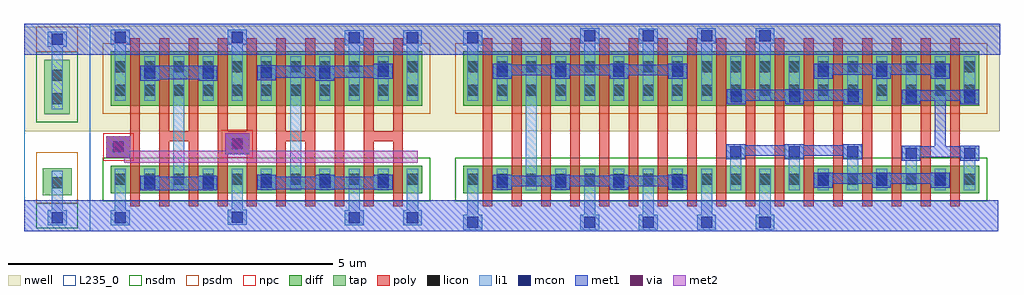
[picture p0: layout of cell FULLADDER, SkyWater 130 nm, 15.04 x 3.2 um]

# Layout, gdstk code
import gdstk
lib = gdstk.Library(unit=1e-6, precision=1e-09)
def R(c, l, rs):  # rectangles x0, y0, x1, y1
    for r in rs: c.add(gdstk.rectangle(r[:2], r[2:], *l))
def A(c, l, x, y, w, h, nx, ny, dx, dy):  # array of equal rectangles
    R(c, l, [(x+i*dx, y+j*dy, x+i*dx+w, y+j*dy+h) for i in range(nx) for j in range(ny)])
nwell = (64, 20)
diff = (65, 20)
tap = (65, 44)
poly = (66, 20)
licon = (66, 44)
li1 = (67, 20)
mcon = (67, 44)
met1 = (68, 20)
via = (68, 44)
met2 = (69, 20)
nsdm = (93, 44)
psdm = (94, 20)
npc = (95, 20)
L235_0 = (235, 0)

pfet = lib.new_cell('pfet')
R(pfet, nwell, [(-0.315,-0.39,1.065,1.23)])
R(pfet, diff, [(0,0,0.75,0.84)])
R(pfet, poly, [(0.3,-0.2,0.45,1.04)])
R(pfet, licon, [(0.065,0.155,0.235,0.325), (0.515,0.155,0.685,0.325), (0.065,0.515,0.235,0.685), (0.515,0.515,0.685,0.685)])
R(pfet, li1, [(0.065,0.075,0.235,0.765), (0.515,0.075,0.685,0.765)])
R(pfet, psdm, [(-0.125,-0.125,0.875,0.965)])

nfet = lib.new_cell('nfet')
R(nfet, diff, [(0,0,0.75,0.42)])
R(nfet, poly, [(0.3,-0.2,0.45,0.62)])
R(nfet, licon, [(0.065,0.125,0.235,0.295), (0.515,0.125,0.685,0.295)])
R(nfet, li1, [(0.065,0.045,0.235,0.375), (0.515,0.045,0.685,0.375)])
R(nfet, nsdm, [(-0.125,-0.125,0.875,0.545)])

vias_gen_4 = lib.new_cell('vias_gen$4')
R(vias_gen_4, li1, [(0,0,0.29,0.23)])
R(vias_gen_4, mcon, [(0.06,0.03,0.23,0.2)])
R(vias_gen_4, met1, [(0,0,0.29,0.23)])

vias_gen_1 = lib.new_cell('vias_gen$1')
R(vias_gen_1, li1, [(0,0,0.29,0.23)])
R(vias_gen_1, mcon, [(0.06,0.03,0.23,0.2)])
R(vias_gen_1, met1, [(0,0,0.29,0.23)])

vias_gen_3 = lib.new_cell('vias_gen$3')
R(vias_gen_3, poly, [(0,0,0.37,0.33)])
R(vias_gen_3, licon, [(0.1,0.08,0.27,0.25)])
R(vias_gen_3, li1, [(0,0,0.37,0.33)])
R(vias_gen_3, mcon, [(0.1,0.08,0.27,0.25)])
R(vias_gen_3, met1, [(0,0,0.37,0.33)])
R(vias_gen_3, via, [(0.11,0.09,0.26,0.24)])
R(vias_gen_3, met2, [(0,0,0.37,0.33)])
R(vias_gen_3, npc, [(-0.05,-0.05,0.42,0.38)])

vias_gen = lib.new_cell('vias_gen')
R(vias_gen, li1, [(0,0,0.29,0.23)])
R(vias_gen, mcon, [(0.06,0.03,0.23,0.2)])
R(vias_gen, met1, [(0,0,0.29,0.23)])

tap_ = lib.new_cell('tap')
R(tap_, nwell, [(-1.455,0.92,-0.435,2.525)])
R(tap_, tap, [(-1.17,-0.07,-0.72,0.35), (-1.14,1.18,-0.75,2.02)])
R(tap_, licon, [(-1.03,0.04,-0.86,0.21), (-1.03,1.335,-0.86,1.505), (-1.03,1.695,-0.86,1.865)])
R(tap_, li1, [(-1.03,-0.3,-0.86,-0.025), (-1.03,-0.025,-0.86,0.305), (-1.03,1.255,-0.86,1.945), (-1.03,1.945,-0.86,2.25)])
R(tap_, met1, [(-1.455,-0.625,-0.435,-0.145), (-1.455,2.095,-0.435,2.575)])
R(tap_, nsdm, [(-1.265,-0.575,-0.625,-0.195), (-1.265,1.055,-0.625,2.145)])
R(tap_, psdm, [(-1.265,-0.195,-0.625,0.59), (-1.265,2.145,-0.625,2.525)])
R(tap_, L235_0, [(-1.455,-0.625,-0.435,2.575)])
tap_.add(gdstk.Reference(vias_gen, (-1.09,-0.53)))
tap_.add(gdstk.Reference(vias_gen, (-1.09,2.22)))

fulladder = lib.new_cell('FULLADDER')
A(fulladder, poly, -2.435, -1.43, 0.15, 0.525, 10, 1, 0.45, 0)
A(fulladder, poly, 2.995, -1.43, 0.15, 0.525, 17, 1, 0.45, 0)
A(fulladder, poly, -1.835, -1.25, 0.3, 0.15, 3, 1, 0.9, 0)
R(fulladder, poly, [(1.315,-1.25,1.615,-1.1)])
A(fulladder, li1, 4.56, -2.415, 0.17, 0.41, 4, 1, 0.9, 0)
A(fulladder, li1, 6.81, -1.675, 0.17, 0.17, 3, 1, 0.9, 0)
A(fulladder, li1, -2.67, 0.06, 0.17, 0.2, 3, 1, 1.8, 0)
R(fulladder, li1, [(-2.67,-2.415,-2.5,-2.005), (0.93,-2.415,1.1,-2.005), (1.83,-2.415,2,-2.005), (2.76,-2.415,2.93,-2.005), (-0.87,-2.41,-0.7,-2), (-1.77,-1.675,-1.6,-0.625), (0.03,-1.675,0.2,-0.625), (3.66,-1.675,3.83,-0.63), (9.51,-1.675,9.68,-1.52), (10.41,-1.675,10.58,-1.52), (2.76,0.055,2.93,0.255), (5.46,0.055,5.63,0.255), (1.83,0.06,2,0.26), (4.56,0.06,4.73,0.26), (6.36,0.06,6.53,0.26), (7.26,0.06,7.43,0.26)])
R(fulladder, met1, [(-3.05,-2.64,10.94,-2.16), (-2.225,-2.005,-1.16,-1.8), (-0.42,-1.99,1.55,-1.8), (3.205,-1.945,6.09,-1.78), (8.095,-1.91,10.135,-1.745), (9.45,-1.495,10.59,-1.33), (6.745,-1.475,8.785,-1.31), (9.96,-1.33,10.13,-0.63), (9.45,-0.63,10.59,-0.465), (6.755,-0.625,8.795,-0.46), (-2.22,-0.295,-1.155,-0.09), (-0.425,-0.275,1.545,-0.085), (3.205,-0.235,6.09,-0.07), (8.13,-0.225,10.17,-0.06), (-3.05,0.08,10.965,0.56)])
R(fulladder, met2, [(-2.525,-1.58,1.995,-1.395)])
fulladder.add(gdstk.Reference(pfet, (3.595,-0.705)))
fulladder.add(gdstk.Reference(pfet, (3.595,-0.705)))
fulladder.add(gdstk.Reference(nfet, (2.695,-2.05)))
fulladder.add(gdstk.Reference(pfet, (2.695,-0.705)))
fulladder.add(gdstk.Reference(pfet, (3.145,-0.705)))
fulladder.add(gdstk.Reference(nfet, (3.145,-2.05)))
fulladder.add(gdstk.Reference(vias_gen_4, (5.4,-2.615)))
fulladder.add(gdstk.Reference(vias_gen_4, (4.05,-0.29)))
fulladder.add(gdstk.Reference(vias_gen_4, (4.95,-0.29)))
fulladder.add(gdstk.Reference(pfet, (9.895,-0.705)))
fulladder.add(gdstk.Reference(vias_gen_4, (6.3,-2.615)))
fulladder.add(gdstk.Reference(vias_gen_4, (7.2,-2.615)))
fulladder.add(gdstk.Reference(vias_gen_4, (5.855,-0.29)))
fulladder.add(gdstk.Reference(vias_gen_4, (4.05,-2)))
fulladder.add(gdstk.Reference(vias_gen_4, (4.95,-2)))
fulladder.add(gdstk.Reference(vias_gen_4, (5.855,-2)))
fulladder.add(gdstk.Reference(pfet, (7.645,-0.705)))
fulladder.add(gdstk.Reference(vias_gen_4, (6.755,-0.68)))
fulladder.add(gdstk.Reference(vias_gen_4, (7.655,-0.68)))
fulladder.add(gdstk.Reference(vias_gen_4, (8.56,-0.68)))
fulladder.add(gdstk.Reference(vias_gen_4, (8.095,-1.965)))
fulladder.add(gdstk.Reference(vias_gen_4, (8.995,-1.965)))
fulladder.add(gdstk.Reference(vias_gen_4, (9.9,-1.965)))
fulladder.add(gdstk.Reference(pfet, (9.445,-0.705)))
fulladder.add(gdstk.Reference(nfet, (9.445,-2.05)))
fulladder.add(gdstk.Reference(nfet, (9.895,-2.05)))
fulladder.add(gdstk.Reference(nfet, (8.995,-2.05)))
fulladder.add(gdstk.Reference(pfet, (4.045,-0.705)))
fulladder.add(gdstk.Reference(pfet, (8.995,-0.705)))
fulladder.add(gdstk.Reference(nfet, (7.645,-2.05)))
fulladder.add(gdstk.Reference(nfet, (8.545,-2.05)))
fulladder.add(gdstk.Reference(pfet, (6.295,-0.705)))
fulladder.add(gdstk.Reference(pfet, (8.545,-0.705)))
fulladder.add(gdstk.Reference(nfet, (8.095,-2.05)))
fulladder.add(gdstk.Reference(pfet, (8.095,-0.705)))
fulladder.add(gdstk.Reference(nfet, (7.195,-2.05)))
fulladder.add(gdstk.Reference(pfet, (7.195,-0.705)))
fulladder.add(gdstk.Reference(pfet, (7.195,-0.705)))
fulladder.add(gdstk.Reference(nfet, (6.295,-2.05)))
fulladder.add(gdstk.Reference(pfet, (6.745,-0.705)))
fulladder.add(gdstk.Reference(nfet, (6.745,-2.05)))
fulladder.add(gdstk.Reference(nfet, (5.845,-2.05)))
fulladder.add(gdstk.Reference(pfet, (5.845,-0.705)))
fulladder.add(gdstk.Reference(vias_gen_4, (8.55,-1.53)))
fulladder.add(gdstk.Reference(pfet, (4.495,-0.705)))
fulladder.add(gdstk.Reference(nfet, (4.495,-2.05)))
fulladder.add(gdstk.Reference(nfet, (5.395,-2.05)))
fulladder.add(gdstk.Reference(pfet, (5.395,-0.705)))
fulladder.add(gdstk.Reference(nfet, (4.945,-2.05)))
fulladder.add(gdstk.Reference(pfet, (4.945,-0.705)))
fulladder.add(gdstk.Reference(nfet, (4.045,-2.05)))
fulladder.add(gdstk.Reference(nfet, (3.595,-2.05)))
fulladder.add(gdstk.Reference(vias_gen_4, (4.5,-2.615)))
fulladder.add(gdstk.Reference(vias_gen_4, (4.5,0.26)))
fulladder.add(gdstk.Reference(vias_gen_4, (5.4,0.255)))
fulladder.add(gdstk.Reference(vias_gen_4, (6.3,0.26)))
fulladder.add(gdstk.Reference(vias_gen_4, (7.2,0.26)))
fulladder.add(gdstk.Reference(vias_gen_4, (10.355,-0.685)))
fulladder.add(gdstk.Reference(vias_gen_4, (7.65,-1.53)))
fulladder.add(gdstk.Reference(vias_gen_4, (6.75,-1.53)))
fulladder.add(gdstk.Reference(vias_gen_4, (9.45,-0.685)))
fulladder.add(gdstk.Reference(vias_gen_4, (10.355,-1.55)))
fulladder.add(gdstk.Reference(vias_gen_4, (9.45,-1.55)))
fulladder.add(gdstk.Reference(vias_gen_4, (8.095,-0.29)))
fulladder.add(gdstk.Reference(vias_gen_4, (8.995,-0.29)))
fulladder.add(gdstk.Reference(vias_gen_4, (9.9,-0.29)))
fulladder.add(gdstk.Reference(nfet, (0.415,-2.05)))
fulladder.add(gdstk.Reference(pfet, (0.415,-0.705)))
fulladder.add(gdstk.Reference(pfet, (1.315,-0.705)))
fulladder.add(gdstk.Reference(pfet, (1.315,-0.705)))
fulladder.add(gdstk.Reference(nfet, (1.315,-2.05)))
fulladder.add(gdstk.Reference(vias_gen_1, (0.87,0.23)))
fulladder.add(gdstk.Reference(vias_gen_1, (-0.93,0.235)))
fulladder.add(gdstk.Reference(vias_gen_1, (-2.73,0.235)))
fulladder.add(gdstk.Reference(nfet, (-0.935,-2.05)))
fulladder.add(gdstk.Reference(pfet, (-0.485,-0.705)))
fulladder.add(gdstk.Reference(nfet, (-0.485,-2.05)))
fulladder.add(gdstk.Reference(nfet, (-1.385,-2.05)))
fulladder.add(gdstk.Reference(vias_gen_1, (-2.73,-2.545)))
fulladder.add(gdstk.Reference(vias_gen_1, (-0.93,-2.54)))
fulladder.add(gdstk.Reference(vias_gen_1, (0.87,-2.545)))
fulladder.add(gdstk.Reference(pfet, (-1.835,-0.705)))
fulladder.add(gdstk.Reference(pfet, (-2.285,-0.705)))
fulladder.add(gdstk.Reference(vias_gen_4, (-2.28,-2.01)))
fulladder.add(gdstk.Reference(vias_gen_4, (-0.48,-0.31)))
fulladder.add(gdstk.Reference(vias_gen_4, (-0.48,-2)))
fulladder.add(gdstk.Reference(vias_gen_4, (-1.38,-2.01)))
fulladder.add(gdstk.Reference(vias_gen_3, (-2.8,-1.505)))
fulladder.add(gdstk.Reference(vias_gen_3, (-0.97,-1.455)))
fulladder.add(gdstk.Reference(vias_gen_4, (0.42,-0.32)))
fulladder.add(gdstk.Reference(vias_gen_4, (0.425,-2)))
fulladder.add(gdstk.Reference(vias_gen_4, (1.32,-2)))
fulladder.add(gdstk.Reference(vias_gen_4, (1.32,-0.29)))
fulladder.add(gdstk.Reference(vias_gen_4, (-1.38,-0.32)))
fulladder.add(gdstk.Reference(vias_gen_4, (-2.28,-0.32)))
fulladder.add(gdstk.Reference(tap_, (-2.615,-2.015)))
fulladder.add(gdstk.Reference(pfet, (-2.735,-0.705)))
fulladder.add(gdstk.Reference(pfet, (-0.035,-0.705)))
fulladder.add(gdstk.Reference(vias_gen_4, (2.7,0.23)))
fulladder.add(gdstk.Reference(vias_gen_1, (1.77,-2.545)))
fulladder.add(gdstk.Reference(nfet, (-2.285,-2.05)))
fulladder.add(gdstk.Reference(vias_gen_4, (3.15,-2)))
fulladder.add(gdstk.Reference(nfet, (-2.735,-2.05)))
fulladder.add(gdstk.Reference(pfet, (-1.385,-0.705)))
fulladder.add(gdstk.Reference(nfet, (-0.035,-2.05)))
fulladder.add(gdstk.Reference(vias_gen_4, (1.77,0.23)))
fulladder.add(gdstk.Reference(nfet, (0.865,-2.05)))
fulladder.add(gdstk.Reference(vias_gen_4, (3.15,-0.29)))
fulladder.add(gdstk.Reference(pfet, (0.865,-0.705)))
fulladder.add(gdstk.Reference(nfet, (-1.835,-2.05)))
fulladder.add(gdstk.Reference(pfet, (-0.935,-0.705)))
fulladder.add(gdstk.Reference(vias_gen_4, (2.7,-2.615)))

lib.write_gds('FULLADDER.gds')
